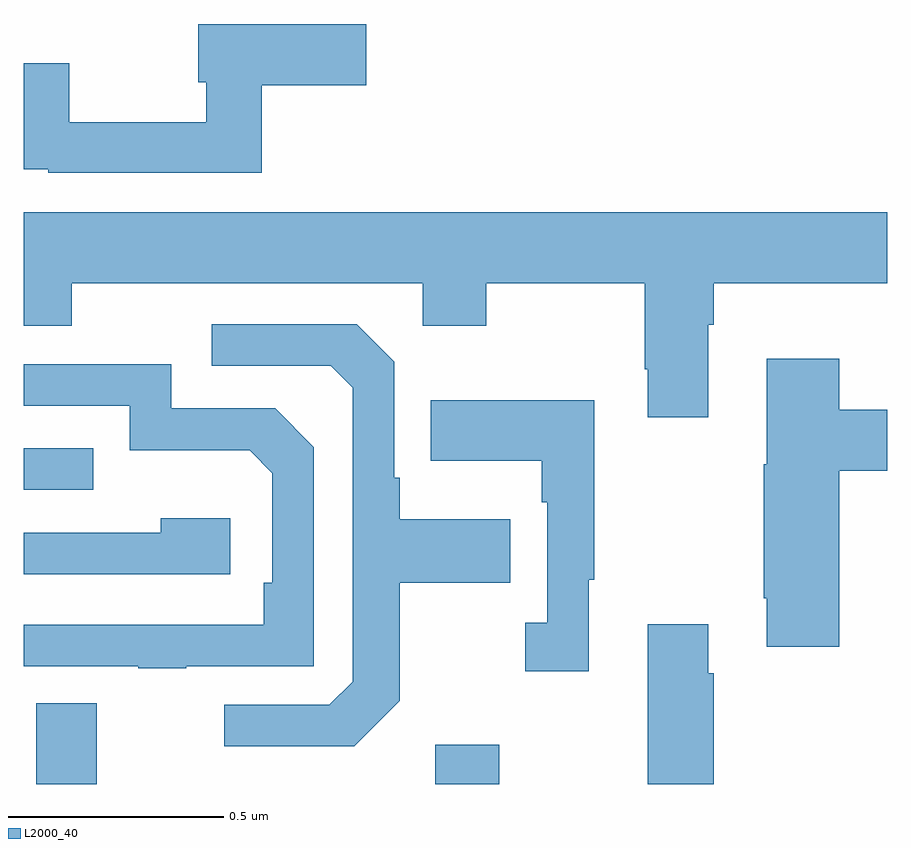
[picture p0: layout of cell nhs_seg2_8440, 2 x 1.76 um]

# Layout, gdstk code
import gdstk
lib = gdstk.Library(unit=1e-6, precision=1e-09)
def R(c, l, rs):  # rectangles x0, y0, x1, y1
    for r in rs: c.add(gdstk.rectangle(r[:2], r[2:], *l))
def P(c, l, *ps):  # polygons
    for p in ps: c.add(gdstk.Polygon(p, *l))
L2000_40 = (2000, 40)

nhs_seg2_8440 = lib.new_cell('nhs_seg2_8440')
R(nhs_seg2_8440, L2000_40, [(216.029,655.8,216.169,655.987), (216.953,655.8,217.101,655.891), (216,656.481,216.161,656.577)])
P(nhs_seg2_8440, L2000_40, [(216.551,657.418),(216.793,657.418),(216.793,657.56),(216.404,657.56),(216.404,657.425),(216.423,657.425),(216.423,657.332),(216.106,657.332),(216.106,657.469),(216,657.469),(216,657.224),(216.057,657.224),(216.057,657.216),(216.551,657.216)],
  [(217.585,656.864),(217.598,656.864),(217.598,656.96),(218,656.96),(218,657.124),(216,657.124),(216,656.861),(216.111,656.861),(216.111,656.96),(216.924,656.96),(216.924,656.861),(217.071,656.861),(217.071,656.96),(217.438,656.96),(217.438,656.761),(217.445,656.761),(217.445,656.649),(217.585,656.649)],
  [(216.871,655.993),(216.871,656.266),(217.127,656.266),(217.127,656.413),(216.871,656.413),(216.871,656.509),(216.858,656.509),(216.858,656.778),(216.771,656.865),(216.435,656.865),(216.435,656.769),(216.711,656.769),(216.762,656.718),(216.762,656.037),(216.708,655.983),(216.465,655.983),(216.465,655.887),(216.765,655.887)],
  [(217.889,656.525),(218,656.525),(218,656.667),(217.889,656.667),(217.889,656.785),(217.721,656.785),(217.721,656.541),(217.714,656.541),(217.714,656.23),(217.721,656.23),(217.721,656.118),(217.889,656.118)],
  [(216.377,656.073),(216.672,656.073),(216.672,656.58),(216.582,656.67),(216.342,656.67),(216.342,656.772),(216,656.772),(216,656.676),(216.246,656.676),(216.246,656.573),(216.523,656.573),(216.576,656.52),(216.576,656.266),(216.556,656.266),(216.556,656.169),(216,656.169),(216,656.073),(216.265,656.073),(216.265,656.068),(216.377,656.068)],
  [(217.309,656.273),(217.321,656.273),(217.321,656.689),(216.943,656.689),(216.943,656.549),(217.2,656.549),(217.2,656.453),(217.212,656.453),(217.212,656.174),(217.161,656.174),(217.161,656.061),(217.309,656.061)],
  [(216.478,656.416),(216.317,656.416),(216.317,656.382),(216,656.382),(216,656.286),(216.478,656.286)],
  [(217.598,656.057),(217.585,656.057),(217.585,656.17),(217.445,656.17),(217.445,655.8),(217.598,655.8)])

lib.write_gds('nhs_seg2_8440.gds')
